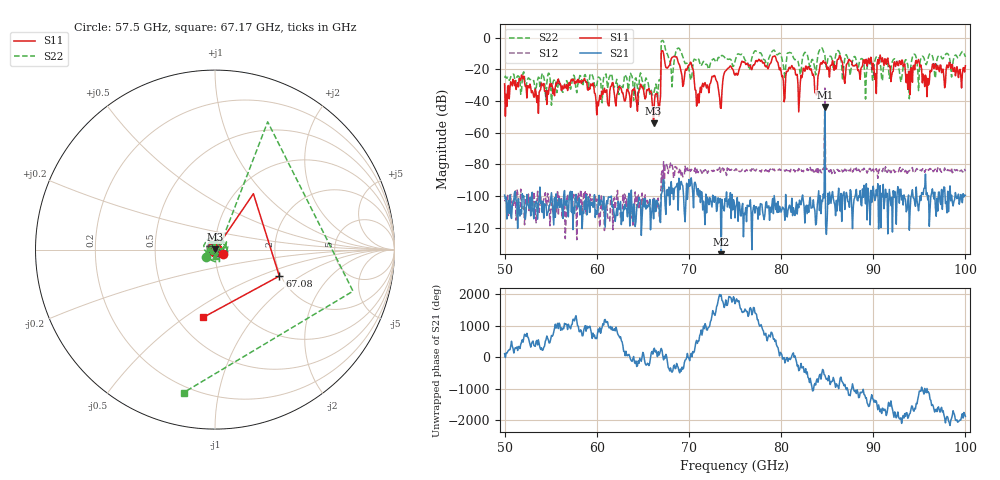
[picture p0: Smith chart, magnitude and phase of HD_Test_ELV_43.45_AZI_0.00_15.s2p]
! 11/25/2026 9:15:55 AM
! C:\ANRITSUVNA\TEMP\TEMP.S2P
! CHANNEL.1
! TR.MEASUREMENT
! RAW.DATA
# HZ S RI R 50.0
! FREQ.HZ  S11RE  S11IM  S21RE  S21IM  S12RE  S12IM  S22RE  S22IM
!; PortSelection: Port_12
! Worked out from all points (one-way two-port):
!   601 points, 50 GHz to 100 GHz, reference 50 ohm
!   highest |S21| = -43.73 dB at 84.75 GHz (marker M1); lowest = -140.0 dB at 73.5 GHz (marker M2)
!   lowest |S11| = -54.2 dB at 66.17 GHz (marker M3), VSWR 1.00, Z = 50.1 + j0.154 ohm
!   |S11| at or under -10 dB: start of sweep to 67 GHz; 67.24 GHz to end of sweep
!   |S22| runs from -42.7 to -1.8 dB; largest |S21 - S12| = 0.032
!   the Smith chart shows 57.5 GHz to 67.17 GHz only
!   S11 on the Smith chart (normalised r, x): 57.5 GHz: 1.09, -0.05; 67.08 GHz: 1.96, -0.68; 67.17 GHz: 0.67, -0.59
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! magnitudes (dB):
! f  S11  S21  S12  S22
! 50 GHz  -29.2  -99.5  -102.5  -25.3
! 57.5 GHz  -26.3  -107.1  -99.0  -23.7
! 58.42 GHz  -27.2  -120.7  -109.8  -29.0
! 60.17 GHz  -43.1  -104.0  -106.6  -24.8
! 66.17 GHz  -54.2  -114.5  -100.8  -35.4
! 66.67 GHz  -41.9  -105.8  -101.4  -32.1
! 67.08 GHz  -8.2  -97.6  -84.3  -1.9
! 67.17 GHz  -8.3  -92.1  -97.0  -1.8
! 70.17 GHz  -15.5  -92.1  -84.5  -25.7
! 70.92 GHz  -40.7  -99.5  -84.8  -13.3
! 72.67 GHz  -24.6  -100.6  -83.8  -13.3
! 73.5 GHz  -44.7  -140.0  -82.9  -11.6
! 75 GHz  -23.7  -113.9  -83.9  -15.0
! 79.25 GHz  -11.8  -99.8  -83.1  -7.9
! 80.25 GHz  -27.6  -108.0  -84.1  -17.7
! 83.42 GHz  -23.8  -107.1  -82.5  -13.8
! 84.75 GHz  -16.1  -43.7  -31.8  -11.3
! 91.67 GHz  -16.7  -104.3  -83.0  -20.5
! 93.75 GHz  -32.6  -103.7  -84.6  -17.3
! 94.83 GHz  -15.0  -105.9  -83.8  -20.3
! 95.83 GHz  -37.3  -97.9  -82.5  -15.9
! 100 GHz  -17.7  -99.7  -84.4  -12.2
